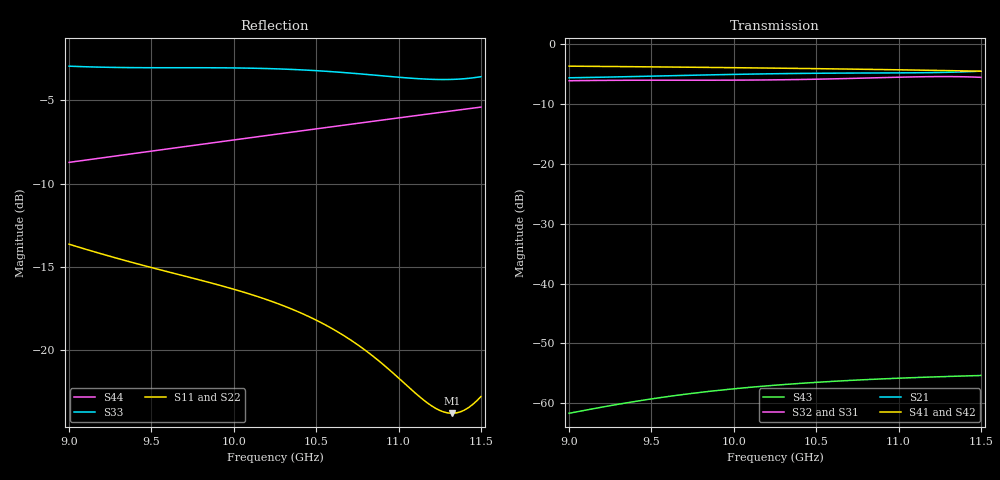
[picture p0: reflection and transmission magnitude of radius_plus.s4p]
! Generated from PyAEDT SolutionData; AEDT ExportNetworkData workaround
# GHz S MA R 50
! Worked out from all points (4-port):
!   101 points, 9 GHz to 11.5 GHz, reference 50 ohm
!   strongest paths, dB at 9 GHz, 9.625 GHz, 10.25 GHz, 10.88 GHz, 11.5 GHz:
!     S41: -3.6, -3.8, -4.0, -4.2, -4.5
!     S42: -3.6, -3.8, -4.0, -4.2, -4.5
!     S21: -5.6, -5.2, -4.9, -4.8, -4.5
!     S32: -6.1, -6.0, -5.9, -5.6, -5.5
!     S31: -6.1, -6.0, -5.9, -5.6, -5.5
!     S43: -61.7, -58.8, -57.0, -55.9, -55.3
!   lowest |S11| = -23.8 dB at 11.32 GHz (marker M1), VSWR 1.14, Z = 55.3 - j4.27 ohm
!   |S11| at or under -10 dB: start of sweep to end of sweep
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9  0.2082 157.7  0.5264 -170.5  0.4963 -76.3  0.6582 46.1
   0.5264 -170.5  0.2085 157.4  0.497 -76.2  0.6576 -134.0
   0.4963 -76.3  0.497 -76.2  0.7119 -153.1  0.0008248 -72.3
   0.6582 46.1  0.6576 -134.0  0.0008248 -72.3  0.3664 -114.9
9.525  0.176 104.3  0.5441 132.1  0.5017 -164.4  0.649 -13.5
       0.5441 132.1  0.1757 103.8  0.5023 -164.3  0.6486 166.5
       0.5017 -164.4  0.5023 -164.3  0.7043 85.9  0.001101 -161.7
       0.649 -13.5  0.6486 166.5  0.001101 -161.7  0.3975 -171.1
9.875  0.1587 69.8  0.5574 94.8  0.5019 138.7  0.642 -51.8
       0.5574 94.8  0.1583 69.2  0.5025 138.7  0.6417 128.2
       0.5019 138.7  0.5025 138.7  0.704 8.2  0.001268 136.8
       0.642 -51.8  0.6417 128.2  0.001268 136.8  0.4196 152.4
10.2  0.142 37.8  0.5677 60.7  0.5045 86.7  0.6348 -86.5
      0.5677 60.7  0.1418 37.0  0.5051 86.8  0.6344 93.4
      0.5045 86.7  0.5051 86.8  0.7003 -62.6  0.001398 79.8
      0.6348 -86.5  0.6344 93.4  0.001398 79.8  0.4411 118.8
10.75  0.1042 -14.0  0.5768 4.9  0.5205 -1.5  0.6209 -144.1
       0.5768 4.9  0.1046 -15.1  0.5215 -1.4  0.62 35.9
       0.5205 -1.5  0.5215 -1.4  0.6761 175.2  0.001564 -15.6
       0.6209 -144.1  0.62 35.9  0.001564 -15.6  0.4796 62.7
11.325  0.0648 -36.4  0.5861 -49.3  0.5367 -99.2  0.6034 156.9
        0.5861 -49.3  0.06487 -38.3  0.5383 -99.1  0.602 -23.2
        0.5367 -99.2  0.5383 -99.1  0.6497 29.8  0.001681 -113.4
        0.6034 156.9  0.602 -23.2  0.001681 -113.4  0.5229 4.4
11.5  0.07272 -34.0  0.5982 -64.8  0.5291 -131.0  0.5974 139.0
      0.5982 -64.8  0.07237 -35.5  0.5309 -130.9  0.5959 -41.0
      0.5291 -131.0  0.5309 -130.9  0.6619 -20.2  0.001709 -142.6
      0.5974 139.0  0.5959 -41.0  0.001709 -142.6  0.5366 -13.3
